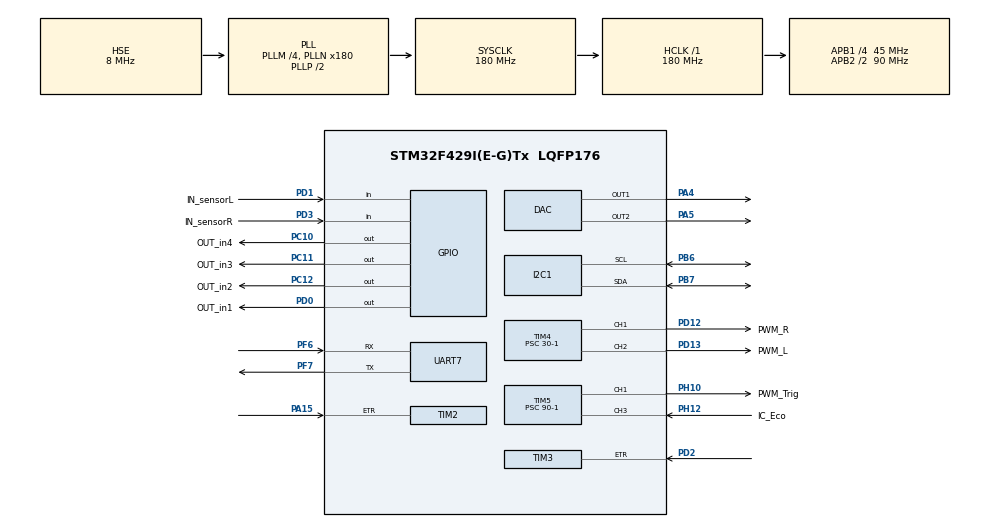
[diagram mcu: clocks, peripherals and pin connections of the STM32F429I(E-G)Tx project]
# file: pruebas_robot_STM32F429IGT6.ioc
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I2C1.I2C_Mode=I2C_Fast
Mcu.Family=STM32F4
Mcu.Name=STM32F429I(E-G)Tx
Mcu.Package=LQFP176
NVIC.PriorityGroup=NVIC_PRIORITYGROUP_4
NVIC.TIM5_IRQn=true\:0\:0\:false\:false\:true\:true\:true\:true
NVIC.TIM7_IRQn=true\:0\:0\:false\:false\:true\:true\:true\:true
NVIC.UART7_IRQn=true\:0\:0\:false\:false\:true\:true\:true\:true
PA13.Mode=Serial_Wire
PA13.Signal=SYS_JTMS-SWDIO
PA14.Mode=Serial_Wire
PA14.Signal=SYS_JTCK-SWCLK
PA15.Signal=S_TIM2_CH1_ETR
PA4.Signal=COMP_DAC1_group
PA5.Signal=COMP_DAC2_group
PB6.Mode=I2C
PB6.Signal=I2C1_SCL
PB7.Mode=I2C
PB7.Signal=I2C1_SDA
PC10.GPIO_Label=OUT_in4
PC10.Signal=GPIO_Output
PC11.GPIO_Label=OUT_in3
PC11.Signal=GPIO_Output
PC12.GPIO_Label=OUT_in2
PC12.Signal=GPIO_Output
PD0.GPIO_Label=OUT_in1
PD0.Signal=GPIO_Output
PD1.GPIO_Label=IN_sensorL
PD1.GPIO_PuPd=GPIO_PULLUP
PD1.Signal=GPIO_Input
PD12.GPIO_Label=PWM_R
PD12.Signal=S_TIM4_CH1
PD13.GPIO_Label=PWM_L
PD13.Signal=S_TIM4_CH2
PD2.Signal=S_TIM3_ETR
PD3.GPIO_Label=IN_sensorR
PD3.GPIO_PuPd=GPIO_PULLUP
PD3.Signal=GPIO_Input
PF6.Mode=Asynchronous
PF6.Signal=UART7_RX
PF7.Mode=Asynchronous
PF7.Signal=UART7_TX
PH0/OSC_IN.Mode=HSE-External-Oscillator
PH0/OSC_IN.Signal=RCC_OSC_IN
PH1/OSC_OUT.Mode=HSE-External-Oscillator
PH1/OSC_OUT.Signal=RCC_OSC_OUT
PH10.GPIO_Label=PWM_Trig
PH10.Signal=S_TIM5_CH1
PH12.GPIO_Label=IC_Eco
PH12.Signal=S_TIM5_CH3
ProjectManager.HeapSize=0x200
ProjectManager.StackSize=0x400
ProjectManager.TargetToolchain=STM32CubeIDE
RCC.48MHZClocksFreq_Value=90000000
RCC.AHBFreq_Value=180000000
RCC.APB1CLKDivider=RCC_HCLK_DIV4
RCC.APB1Freq_Value=45000000
RCC.APB1TimFreq_Value=90000000
RCC.APB2CLKDivider=RCC_HCLK_DIV2
RCC.APB2Freq_Value=90000000
RCC.APB2TimFreq_Value=180000000
RCC.CortexFreq_Value=180000000
RCC.HCLKFreq_Value=180000000
RCC.HSE_VALUE=8000000
RCC.HSI_VALUE=16000000
RCC.LSE_VALUE=32768
RCC.PLLM=4
RCC.PLLN=180
RCC.PLLSourceVirtual=RCC_PLLSOURCE_HSE
RCC.SYSCLKFreq_VALUE=180000000
RCC.SYSCLKSource=RCC_SYSCLKSOURCE_PLLCLK
RCC.VCOOutputFreq_Value=360000000
SH.COMP_DAC1_group.0=DAC_OUT1,DAC_OUT1
SH.COMP_DAC2_group.0=DAC_OUT2,DAC_OUT2
SH.S_TIM2_CH1_ETR.0=TIM2_ETR,ClockSourceETR_Mode2
SH.S_TIM3_ETR.0=TIM3_ETR,ClockSourceETR_Mode2
SH.S_TIM4_CH1.0=TIM4_CH1,PWM Generation1 CH1
SH.S_TIM4_CH2.0=TIM4_CH2,PWM Generation2 CH2
SH.S_TIM5_CH1.0=TIM5_CH1,PWM Generation1 CH1
SH.S_TIM5_CH3.0=TIM5_CH3,Input_Capture4_from_TI3
SH.S_TIM5_CH3.1=TIM5_CH3,Input_Capture3_from_TI3
TIM4.Channel-PWM\ Generation1\ CH1=TIM_CHANNEL_1
TIM4.Channel-PWM\ Generation2\ CH2=TIM_CHANNEL_2
TIM4.Period=100-1
TIM4.Prescaler=30-1
TIM4.Pulse-PWM\ Generation1\ CH1=72-1
TIM4.Pulse-PWM\ Generation2\ CH2=72-1
TIM5.Channel-Input_Capture3_from_TI3=TIM_CHANNEL_3
TIM5.Channel-Input_Capture4_from_TI3=TIM_CHANNEL_4
TIM5.Channel-PWM\ Generation1\ CH1=TIM_CHANNEL_1
TIM5.ICPolarity_CH4=TIM_INPUTCHANNELPOLARITY_FALLING
TIM5.OCPolarity_1=TIM_OCPOLARITY_LOW
TIM5.Prescaler=90-1
TIM5.Pulse-PWM\ Generation1\ CH1=0xFFFFFFF5
TIM7.Period=1000-1
TIM7.Prescaler=900-1
UART7.VirtualMode=Asynchronous
VP_TIM4_VS_ClockSourceINT.Mode=Internal
VP_TIM5_VS_ClockSourceINT.Mode=Internal
VP_TIM7_VS_ClockSourceINT.Mode=Enable_Timer
board=custom

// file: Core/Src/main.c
/* USER CODE BEGIN Header */
/**
  ******************************************************************************
  * @file           : main.c
  * @brief          : Main program body
  ******************************************************************************
  * @attention
  *
  * <h2><center>&copy; Copyright (c) 2022 STMicroelectronics.
  * All rights reserved.</center></h2>
  *
  * This software component is licensed by ST under BSD 3-Clause license,
  * the "License"; You may not use this file except in compliance with the
  * License. You may obtain a copy of the License at:
  *                        opensource.org/licenses/BSD-3-Clause
  *
  ******************************************************************************
  */
/* USER CODE END Header */
#include "main.h"
#include "dac.h"
#include "i2c.h"
#include "tim.h"
#include "usart.h"
#include "gpio.h"

/* USER CODE BEGIN Includes */
#include "stdlib.h"
#include "math.h"

#include "mpu_9265_lfs.h"
#include "comunicacionUART.h"
#include "comandosUart.h"
/* USER CODE END Includes */

/* USER CODE BEGIN PV */
uint16_t set_pwm_L = 70;
uint16_t set_pwm_R = 70;

uint16_t cuenta_pulsosL = 0;
uint16_t cuenta_pulsosR = 0;

uint8_t desbordes;

float magX, magY;
int16_t MAX_magX = -10000, MAX_magY = -10000, MIN_magX = 10000, MIN_magY = 10000;
int16_t media_magX, media_magY;
float direccion_f32;
int16_t direccion_i16;
mpuData_t mpu9265;

int32_t deltaT;

//variables comunicacion//
uint8_t rxUart[4];
uint8_t flag_cmd = 0;
uint8_t txUart[4];
uint8_t esp01Presente = 0;
//variables de coordenadas//
uint8_t pos_x = 0;
uint8_t pos_y = 0;
uint8_t pos_ang = 0;

T_MODO modoFuncionamiento;
uint8_t flag_encoders;
uint8_t periodo_muestrasOdometria = 7;
int16_t encoderL;
int16_t encoderR;

/* USER CODE END PV */

void SystemClock_Config(void);

int main(void)
{

  /* MCU Configuration--------------------------------------------------------*/

  /* Reset of all peripherals, Initializes the Flash interface and the Systick. */
  HAL_Init();

  /* Configure the system clock */
  SystemClock_Config();

  /* Initialize all configured peripherals */
  MX_GPIO_Init();
  MX_DAC_Init();
  MX_TIM2_Init();
  MX_TIM3_Init();
  MX_TIM4_Init();
  MX_TIM5_Init();
  MX_UART7_Init();
  MX_TIM7_Init();
  MX_I2C1_Init();
  /* USER CODE BEGIN 2 */

  HAL_TIM_Base_Start(&htim2); //encoder.
  HAL_TIM_Base_Start(&htim3); //encoder.

  HAL_TIM_PWM_Start(&htim4, TIM_CHANNEL_1); //rueda izquierda.
  HAL_TIM_PWM_Start(&htim4, TIM_CHANNEL_2); //rueda derecha.
//  TIM4->CCR1 = set_pwm_L;
//  TIM4->CCR2 = set_pwm_R;
  TIM4->CCR1 = 0;
  TIM4->CCR2 = 0;

  //avanza
  HAL_GPIO_WritePin(OUT_in1_GPIO_Port, OUT_in1_Pin, 1);
  HAL_GPIO_WritePin(OUT_in4_GPIO_Port, OUT_in4_Pin, 1);

  HAL_GPIO_WritePin(OUT_in2_GPIO_Port, OUT_in2_Pin, 0);
  HAL_GPIO_WritePin(OUT_in3_GPIO_Port, OUT_in3_Pin, 0);

  HAL_TIM_Base_Start_IT(&htim7); //desborda cada 1 s.

  init_controlRxTx (&huart7);
  mpu9265_Init(&hi2c1);
  HAL_UART_Receive_IT(&huart7, rxUart, 4);

  /* USER CODE END 2 */

  /* Infinite loop */
  /* USER CODE BEGIN WHILE */
  while (1)
  {
//		if (TIM4->CCR1 < 62) TIM4->CCR1 = 62;
//		if (TIM4->CCR1 > 82) TIM4->CCR1 = 82;
//
//		TIM4->CCR2 += velR - encoderR;
//		if (TIM4->CCR2 < 62) TIM4->CCR2 = 62;
//		if (TIM4->CCR2 > 82) TIM4->CCR2 = 82;

	  TIM4->CCR1 = set_pwm_L;
	  TIM4->CCR2 = set_pwm_R;

	  if (desbordes != 0){

		  if (periodo_muestrasOdometria > 21){ // en 10 * ms
			  encoderL = __HAL_TIM_GET_COUNTER(&htim3);
			  __HAL_TIM_SET_COUNTER(&htim3, 0);
			  encoderR = __HAL_TIM_GET_COUNTER(&htim2);
			  __HAL_TIM_SET_COUNTER(&htim2, 0);
			  periodo_muestrasOdometria = 0;
		  }else{
			  periodo_muestrasOdometria++;
		  }

		  deltaT = __HAL_TIM_GET_COUNTER(&htim7);

		  mpu9265_Read_Magnet(&mpu9265);
		  magX = (float) (mpu9265.Magnet_X_RAW /*+ 388.0*/); //media empirica
		  magY = (float) (mpu9265.Magnet_Y_RAW /*- 234.0*/); //media empirica

		  if (magX > MAX_magX) MAX_magX = magX;
		  if (magX < MIN_magX) MIN_magX = magX;
		  if (magY > MAX_magY) MAX_magY = magY;
		  if (magY < MIN_magY) MIN_magY = magY;

		  media_magX = (MAX_magX + MIN_magX) / 2;
		  media_magY = (MAX_magY + MIN_magY) / 2;

		  direccion_f32 = atan2f(magY, magX);
		  direccion_f32 *= (180.0/M_PI);
		  //			direccion_i16 = direccion_f32/180;
//		  direccion_i16 = direccion_f32;
//		  direccion_i16 -= 129;
//		  direccion_i16 = -direccion_i16;
//		  if (magX > 0) direccion_i16 = -direccion_i16;
		  //			if (magX < magY) direccion_i16 = -direccion_i16;
		  //			direccion_f32 *= (180.0/M_PI);
		  //			direccion_i16 = direccion_f32/180;

		  deltaT = __HAL_TIM_GET_COUNTER(&htim7) - deltaT;

//		  txUart[0] = COORD_ANG;
//		  txUart[1] = (uint8_t)(direccion_i16 >> 8);
//		  txUart[2] = (uint8_t)(direccion_i16 & 0xFF);
//		  txUart[3] = '\0';
//		  HAL_UART_Transmit_IT(&huart7, txUart, 4);
		  desbordes = 0;
	  } //fin  if (desbordes != 0)

	  /*
	  if (flag_cmd != 0){
		  flag_cmd = 0;
		  controlRxTxUART(rxUart);
	  }
	  */

    /* USER CODE END WHILE */

  }
}

void SystemClock_Config(void)
{
  RCC_OscInitTypeDef RCC_OscInitStruct = {0};
  RCC_ClkInitTypeDef RCC_ClkInitStruct = {0};

  /** Configure the main internal regulator output voltage
  */
  __HAL_RCC_PWR_CLK_ENABLE();
  __HAL_PWR_VOLTAGESCALING_CONFIG(PWR_REGULATOR_VOLTAGE_SCALE1);
  /** Initializes the RCC Oscillators according to the specified parameters
  * in the RCC_OscInitTypeDef structure.
  */
  RCC_OscInitStruct.OscillatorType = RCC_OSCILLATORTYPE_LSI|RCC_OSCILLATORTYPE_HSE;
  RCC_OscInitStruct.HSEState = RCC_HSE_ON;
  RCC_OscInitStruct.LSIState = RCC_LSI_ON;
  RCC_OscInitStruct.PLL.PLLState = RCC_PLL_ON;
  RCC_OscInitStruct.PLL.PLLSource = RCC_PLLSOURCE_HSE;
  RCC_OscInitStruct.PLL.PLLM = 4;
  RCC_OscInitStruct.PLL.PLLN = 180;
  RCC_OscInitStruct.PLL.PLLP = RCC_PLLP_DIV2;
  RCC_OscInitStruct.PLL.PLLQ = 4;
  if (HAL_RCC_OscConfig(&RCC_OscInitStruct) != HAL_OK)
  {
    Error_Handler();
  }
  /** Activate the Over-Drive mode
  */
  if (HAL_PWREx_EnableOverDrive() != HAL_OK)
  {
    Error_Handler();
  }
  /** Initializes the CPU, AHB and APB buses clocks
  */
  RCC_ClkInitStruct.ClockType = RCC_CLOCKTYPE_HCLK|RCC_CLOCKTYPE_SYSCLK
                              |RCC_CLOCKTYPE_PCLK1|RCC_CLOCKTYPE_PCLK2;
  RCC_ClkInitStruct.SYSCLKSource = RCC_SYSCLKSOURCE_PLLCLK;
  RCC_ClkInitStruct.AHBCLKDivider = RCC_SYSCLK_DIV1;
  RCC_ClkInitStruct.APB1CLKDivider = RCC_HCLK_DIV4;
  RCC_ClkInitStruct.APB2CLKDivider = RCC_HCLK_DIV2;

  if (HAL_RCC_ClockConfig(&RCC_ClkInitStruct, FLASH_LATENCY_5) != HAL_OK)
  {
    Error_Handler();
  }
}

/* USER CODE BEGIN 4 */

void HAL_TIM_PeriodElapsedCallback(TIM_HandleTypeDef *htim){
	if (htim->Instance==TIM7){
//		cuenta_pulsosL = __HAL_TIM_GET_COUNTER(&htim3);
//		cuenta_pulsosR = __HAL_TIM_GET_COUNTER(&htim2);
//		__HAL_TIM_SET_COUNTER(&htim3, 0);
//		__HAL_TIM_SET_COUNTER(&htim2, 0);

		desbordes++;

	}
}

void HAL_UART_RxCpltCallback(UART_HandleTypeDef *huart){
	flag_cmd = 1;
}

/* USER CODE END 4 */

void Error_Handler(void)
{
}

/************************ (C) COPYRIGHT STMicroelectronics *****END OF FILE****/
